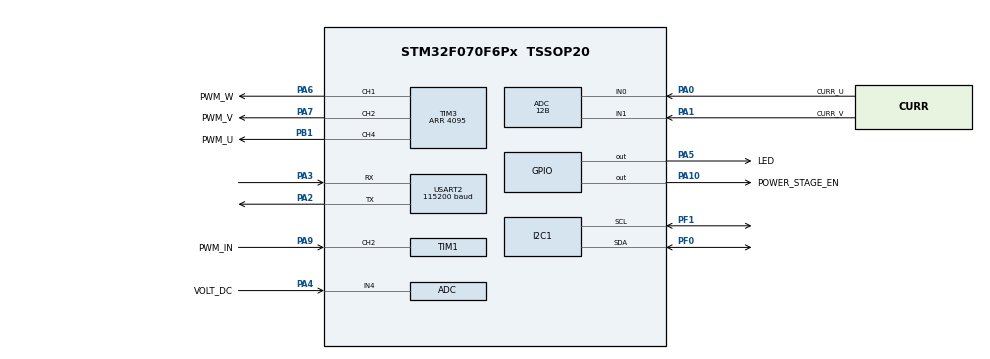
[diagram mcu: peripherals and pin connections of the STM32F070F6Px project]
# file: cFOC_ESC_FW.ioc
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ADC.ClockPrescaler=ADC_CLOCK_ASYNC_DIV1
ADC.ContinuousConvMode=DISABLE
ADC.DMAContinuousRequests=ENABLE
ADC.DataAlign=ADC_DATAALIGN_RIGHT
ADC.DiscontinuousConvMode=DISABLE
ADC.EOCSelection=ADC_EOC_SEQ_CONV
ADC.EnableAnalogWatchDog=false
ADC.ExternalTrigConv=ADC_EXTERNALTRIGCONV_T3_TRGO
ADC.ExternalTrigConvEdge=ADC_EXTERNALTRIGCONVEDGE_RISING
ADC.LowPowerAutoPowerOff=DISABLE
ADC.LowPowerAutoWait=DISABLE
ADC.Overrun=ADC_OVR_DATA_OVERWRITTEN
ADC.Resolution=ADC_RESOLUTION_12B
ADC.SamplingTime=ADC_SAMPLETIME_1CYCLE_5
ADC.ScanConvMode=ADC_SCAN_DIRECTION_FORWARD
Dma.ADC.1.Direction=DMA_PERIPH_TO_MEMORY
Dma.ADC.1.Instance=DMA1_Channel1
Dma.ADC.1.MemDataAlignment=DMA_MDATAALIGN_WORD
Dma.ADC.1.MemInc=DMA_MINC_ENABLE
Dma.ADC.1.Mode=DMA_CIRCULAR
Dma.ADC.1.PeriphDataAlignment=DMA_PDATAALIGN_WORD
Dma.ADC.1.PeriphInc=DMA_PINC_DISABLE
Dma.ADC.1.Priority=DMA_PRIORITY_HIGH
Dma.Request0=USART2_TX
Dma.Request1=ADC
Dma.USART2_TX.0.Direction=DMA_MEMORY_TO_PERIPH
Dma.USART2_TX.0.Instance=DMA1_Channel4
Dma.USART2_TX.0.MemDataAlignment=DMA_MDATAALIGN_BYTE
Dma.USART2_TX.0.MemInc=DMA_MINC_ENABLE
Dma.USART2_TX.0.Mode=DMA_NORMAL
Dma.USART2_TX.0.PeriphDataAlignment=DMA_PDATAALIGN_BYTE
Dma.USART2_TX.0.PeriphInc=DMA_PINC_DISABLE
Dma.USART2_TX.0.Priority=DMA_PRIORITY_LOW
I2C1.Timing=0x20303E5D
Mcu.Family=STM32F0
Mcu.Name=STM32F070F6Px
Mcu.Package=TSSOP20
NVIC.ADC1_IRQn=true\:0\:0\:false\:false\:true\:true
NVIC.DMA1_Channel1_IRQn=true\:0\:0\:false\:false\:true\:false
NVIC.DMA1_Channel4_5_IRQn=true\:0\:0\:false\:false\:true\:false
NVIC.TIM3_IRQn=true\:0\:0\:false\:false\:true\:true
PA0.GPIO_Label=CURR_U
PA0.Mode=IN0
PA0.Signal=ADC_IN0
PA1.GPIO_Label=CURR_V
PA1.Mode=IN1
PA1.Signal=ADC_IN1
PA10.GPIO_Label=POWER_STAGE_EN
PA10.Signal=GPIO_Output
PA13.Mode=Serial_Wire
PA13.Signal=SYS_SWDIO
PA14.Mode=Serial_Wire
PA14.Signal=SYS_SWCLK
PA2.Mode=Asynchronous
PA2.Signal=USART2_TX
PA3.Mode=Asynchronous
PA3.Signal=USART2_RX
PA4.GPIO_Label=VOLT_DC
PA4.Mode=IN4
PA4.Signal=ADC_IN4
PA5.GPIO_Label=LED
PA5.Signal=GPIO_Output
PA6.GPIO_Label=PWM_W
PA6.Signal=S_TIM3_CH1
PA7.GPIO_Label=PWM_V
PA7.Signal=S_TIM3_CH2
PA9.GPIO_Label=PWM_IN
PA9.Signal=S_TIM1_CH2
PB1.GPIO_Label=PWM_U
PB1.Signal=S_TIM3_CH4
PF0-OSC_IN.Mode=I2C
PF0-OSC_IN.Signal=I2C1_SDA
PF1-OSC_OUT.Mode=I2C
PF1-OSC_OUT.Signal=I2C1_SCL
ProjectManager.HeapSize=0x200
ProjectManager.StackSize=0x400
ProjectManager.TargetToolchain=MDK-ARM V5
RCC.AHBFreq_Value=48000000
RCC.APB1Freq_Value=48000000
RCC.APB1TimFreq_Value=48000000
RCC.HCLKFreq_Value=48000000
RCC.I2c1ClockSelection=RCC_I2C1CLKSOURCE_SYSCLK
RCC.PLLMUL=RCC_PLL_MUL6
RCC.SYSCLKFreq_VALUE=48000000
RCC.SYSCLKSource=RCC_SYSCLKSOURCE_PLLCLK
SH.S_TIM1_CH2.0=TIM1_CH2,PWM_Input_2
SH.S_TIM3_CH1.0=TIM3_CH1,PWM Generation1 CH1
SH.S_TIM3_CH2.0=TIM3_CH2,PWM Generation2 CH2
SH.S_TIM3_CH4.0=TIM3_CH4,PWM Generation4 CH4
TIM1.TIM_MasterOutputTrigger=TIM_TRGO_OC3REF
TIM3.AutoReloadPreload=TIM_AUTORELOAD_PRELOAD_ENABLE
TIM3.Channel-PWM\ Generation1\ CH1=TIM_CHANNEL_1
TIM3.Channel-PWM\ Generation2\ CH2=TIM_CHANNEL_2
TIM3.Channel-PWM\ Generation4\ CH4=TIM_CHANNEL_4
TIM3.CounterMode=TIM_COUNTERMODE_CENTERALIGNED1
TIM3.Period=4095
TIM3.TIM_MasterOutputTrigger=TIM_TRGO_UPDATE
USART2.BaudRate=115200
USART2.Mode=MODE_TX_RX
USART2.VirtualMode-Asynchronous=VM_ASYNC
VP_TIM3_VS_ClockSourceINT.Mode=Internal
board=custom

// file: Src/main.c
/**
  ******************************************************************************
  * @file           : main.c
  * @brief          : Main program body
  ******************************************************************************
  ** This notice applies to any and all portions of this file
  * that are not between comment pairs USER CODE BEGIN and
  * USER CODE END. Other portions of this file, whether
  * inserted by the user or by software development tools
  * are owned by their respective copyright owners.
  *
  * COPYRIGHT(c) 2019 STMicroelectronics
  *
  * Redistribution and use in source and binary forms, with or without modification,
  * are permitted provided that the following conditions are met:
  *   1. Redistributions of source code must retain the above copyright notice,
  *      this list of conditions and the following disclaimer.
  *   2. Redistributions in binary form must reproduce the above copyright notice,
  *      this list of conditions and the following disclaimer in the documentation
  *      and/or other materials provided with the distribution.
  *   3. Neither the name of STMicroelectronics nor the names of its contributors
  *      may be used to endorse or promote products derived from this software
  *      without specific prior written permission.
  *
  * THIS SOFTWARE IS PROVIDED BY THE COPYRIGHT HOLDERS AND CONTRIBUTORS "AS IS"
  * AND ANY EXPRESS OR IMPLIED WARRANTIES, INCLUDING, BUT NOT LIMITED TO, THE
  * IMPLIED WARRANTIES OF MERCHANTABILITY AND FITNESS FOR A PARTICULAR PURPOSE ARE
  * DISCLAIMED. IN NO EVENT SHALL THE COPYRIGHT HOLDER OR CONTRIBUTORS BE LIABLE
  * FOR ANY DIRECT, INDIRECT, INCIDENTAL, SPECIAL, EXEMPLARY, OR CONSEQUENTIAL
  * DAMAGES (INCLUDING, BUT NOT LIMITED TO, PROCUREMENT OF SUBSTITUTE GOODS OR
  * SERVICES; LOSS OF USE, DATA, OR PROFITS; OR BUSINESS INTERRUPTION) HOWEVER
  * CAUSED AND ON ANY THEORY OF LIABILITY, WHETHER IN CONTRACT, STRICT LIABILITY,
  * OR TORT (INCLUDING NEGLIGENCE OR OTHERWISE) ARISING IN ANY WAY OUT OF THE USE
  * OF THIS SOFTWARE, EVEN IF ADVISED OF THE POSSIBILITY OF SUCH DAMAGE.
  *
  ******************************************************************************
  */
#include "main.h"
#include "adc.h"
#include "dma.h"
#include "i2c.h"
#include "tim.h"
#include "usart.h"
#include "gpio.h"

/* USER CODE BEGIN Includes */
#include "fxptMath.h"
#include "cordicTrig.h"
#include "digitalFilters.h"
#include "pi_reg.h"
#include "rampgen.h"
#include "park.h"
#include "ipark.h"
#include "svgen.h"
#include "clarke.h"
#include "smopos.h"
#include "smopos_const.h"
#include "volt_calc.h"
#include "speed_est.h"
//#include <math.h>

/* USER CODE END Includes */

/* USER CODE BEGIN PV */
/* Private variables ---------------------------------------------------------*/
#define UART_SPEED 115200

#define ADC_DATA_BUFF_SIZE 		3
#define TX_BUFF_SIZE 					10
#define STREAM_DBG_SIZE 			255

#define F_SMP 								(48000000.0f / 4095.0f)
#define T_S 									(1.0f / F_SMP)
#define TETA_BASE 						(M_2PI * 30.0f * T_S)	// for 1 period in buffer cycle(256): 1 / 255 *T_S
#define TETA_INC_CONST				(M_2PI * T_S)
#define SPEED_LOOP_PSC				8

/* 		19.5 max phase current
 * 		max_curr * sqrt(2) * R_sense * opAmp_gain = 19.5 * 1.41 * 0.002 * 30 = 1.6497
 *		3102 = 10a = 14.1 amp
 *		992 = -10a = -14.1 amp
 *		20.8V max DC_BUS voltage (3.27/4095) * 6.3694 * 4095 = 20.8845
 */

#define MAX_CURR 19.5			// max readeble from ADC
#define MAX_DC_VOLT 20.9			// max readeble from ADC
#define BASE_CURR 10.0			// base
#define BASE_DC_VOLT 12.0			// MAX_DC_VOLT / sqrt(3)
#define BASE_FREQ 100.0
#define POLES 4
#define RS 0.175
#define LS 0.0000127

volatile uint32_t adcData[ADC_DATA_BUFF_SIZE] = {0};
volatile uint8_t txData[TX_BUFF_SIZE] = {0};

/*========== Drive struct field ============*/
 enum driveState
 {
    PREP,							// 0
    RDY,							// 1
		TUNE_PI,					// 2
    RUN_OPNLOOP,			// 3
    RUN_CLSLOOP,			// 4
		RUN_SPDLOOP,			// 5
		STOP,							// 6
		SHTDWN						// 7
 };

typedef struct{
	volatile _iq iU;
	volatile _iq iV;
	volatile _iq iW;
	volatile _iq offsetZeroCU;
	volatile _iq offsetZeroCV;
}motor_t;

union drive_u
{
	motor_t bldc;
	uint8_t state;
};

union drive_u drive;
/*==================================*/
/*====== DataLog var ===============*/
typedef struct{
	volatile uint8_t txCmplt:1;
	volatile uint8_t startRecord:1;
	volatile uint8_t endRecord:1;
	volatile uint8_t updateCmplt:1;

	volatile uint8_t frameCount;
	volatile uint8_t dataPacketCount;
	volatile uint16_t streamCh1[STREAM_DBG_SIZE];
	volatile uint16_t streamCh2[STREAM_DBG_SIZE];
	volatile uint16_t streamCh3[STREAM_DBG_SIZE];
	volatile uint16_t streamCh4[STREAM_DBG_SIZE];
} dataLogVars_t;

dataLogVars_t dataLog;

/*==========================================*/

volatile _iq tetaStep = _IQ(TETA_INC_CONST);
volatile _iq teta;
volatile _iq olSpeedRef = _IQ(TETA_BASE);
volatile _iq refId = _IQ(0.0);
volatile _iq refIq = _IQ(0.0);
volatile _iq refSpeed = _IQ(0.0);
volatile _iq SpeedLoopCount = 0;

/* Digital LPF Init */
FILTER_DATA lpf_iD = FILTER_DEFAULTS;
FILTER_DATA lpf_iQ = FILTER_DEFAULTS;

PI_REG pi_iD = PI_REG_DEFAULTS;
PI_REG pi_iQ = PI_REG_DEFAULTS;
PI_REG pi_spd = PI_REG_DEFAULTS;

//RAMPGEN rg1 = RAMPGEN_DEFAULTS;

IPARK ipark1 = IPARK_DEFAULTS;

CLARKE clark1 = CLARKE_DEFAULTS;

PARK park1 = PARK_DEFAULTS;

PHASEVOLTAGE voltPh = PHASEVOLTAGE_DEFAULTS;

SVGEN svpwm = SVGEN_DEFAULTS;

SMOPOS smo1 = SMOPOS_DEFAULTS;

//SMOPOS_CONST smo1_const = SMOPOS_CONST_DEFAULTS;

SPEED_ESTIMATION spdest1 = SPEED_ESTIMATION_DEFAULTS;

/* USER CODE END PV */

static void LL_Init(void);
void SystemClock_Config(void);

/* USER CODE BEGIN PFP */
/* Private function prototypes -----------------------------------------------*/

void Configure_DMA(void);
void Configure_USART(void);
void StartTransfers(void);
void updateFrame(uint16_t frameNmb);

void escSystemStart(void)
{
	/* TIM3 Config and start. Enable the update/CC3 interrupt
   * Enable channles and set compare
	 * Enable counter
	 * Force update/CC3 event generation */
  //LL_TIM_EnableIT_CC3(TIM3);
  LL_TIM_CC_EnableChannel(TIM3, LL_TIM_CHANNEL_CH1);
	LL_TIM_CC_EnableChannel(TIM3, LL_TIM_CHANNEL_CH2);
	LL_TIM_CC_EnableChannel(TIM3, LL_TIM_CHANNEL_CH4);
	LL_TIM_SetAutoReload(TIM3, 2047);
	LL_TIM_OC_SetCompareCH1(TIM3, 0);
	LL_TIM_OC_SetCompareCH2(TIM3, 0);
	LL_TIM_OC_SetCompareCH4(TIM3, 0);
	LL_TIM_OC_SetCompareCH3(TIM3, LL_TIM_GetAutoReload(TIM3));
	LL_TIM_EnableCounter(TIM3);
  LL_TIM_GenerateEvent_CC3(TIM3);

  /* Set DMA transfer addresses of source and destination
   * Set DMA transfer size
   * Enable ISR from transfer complete
   * Enable DMA channel */
  LL_DMA_ConfigAddresses(DMA1, LL_DMA_CHANNEL_1,
                         LL_ADC_DMA_GetRegAddr(ADC1, LL_ADC_DMA_REG_REGULAR_DATA),
                         (uint32_t)&adcData,
                         LL_DMA_DIRECTION_PERIPH_TO_MEMORY);
  LL_DMA_SetDataLength(DMA1, LL_DMA_CHANNEL_1, ADC_DATA_BUFF_SIZE);
	LL_DMA_EnableIT_TC(DMA1, LL_DMA_CHANNEL_1);

	/* ADC Config and start. Enable the update interrupt.
	 * Disable DMA transfer before calibration
	 * Start calibration and wait untill that complete
	 * Enable DMA transfer, enable ADC, wait until ADC switch to enable state
	 * if external event used for triger ADC, first start will need software */
	LL_ADC_REG_SetDMATransfer(ADC1, LL_ADC_REG_DMA_TRANSFER_NONE);
	LL_ADC_StartCalibration(ADC1);
	while(LL_ADC_IsCalibrationOnGoing(ADC1)){}
  LL_ADC_REG_SetDMATransfer(ADC1, LL_ADC_REG_DMA_TRANSFER_UNLIMITED);
	//LL_ADC_EnableIT_EOS(ADC1);
	LL_ADC_Enable(ADC1);
	while (LL_ADC_IsActiveFlag_ADRDY(ADC1) == 0){}

	LL_DMA_EnableChannel(DMA1, LL_DMA_CHANNEL_1);
	LL_ADC_REG_StartConversion(ADC1);

}

void newSample_callback(void)
{
	LL_GPIO_SetOutputPin(LED_GPIO_Port, LED_Pin);

	if ( drive.state  == RDY || drive.state  == RUN_OPNLOOP || drive.state  == RUN_CLSLOOP || drive.state  == RUN_SPDLOOP  )
	{
	/*------------- Get ADC result and Clarke transform --------------*/

	clark1.As = ( adcData[0] - drive.bldc.offsetZeroCU ) << 13;
	clark1.Bs = ( adcData[1] - drive.bldc.offsetZeroCV ) << 13;

	CLARKE_MACRO(clark1);

	/*------------- Ramp and sawtooth wave generation -----------------*/

	if (drive.state != TUNE_PI )
	{
	if ( tetaStep < olSpeedRef ) tetaStep += _IQ(0.000001);
		if ( tetaStep > olSpeedRef ) tetaStep -= _IQ(0.000001);
	teta += tetaStep;
	if ( teta >= _IQ(M_PI) ) { teta -= _IQ(M_2PI); }
	}

	/*------------- Park transform --------------------------*/

//	CORDICsincos( _IQtoIQ13(teta), CORDIC_1F, &park1.Sin, &park1.Cos);
//  CORDICatan2sqrt(&angle,&calcSin,qSin, qCos);

	if (drive.state == RUN_OPNLOOP )
	{
	park1.Sin = _IQsin(teta);
	park1.Cos = _IQcos(teta);
	}
	if (drive.state == RUN_CLSLOOP)
	{
	park1.Sin = _IQsin(smo1.Theta);
	park1.Cos = _IQcos(smo1.Theta);
	}
	park1.Alpha = clark1.Alpha;
	park1.Beta = clark1.Beta;
	park1.calc(&park1);

	/*------------- SpeedLoop --------------------------*/

	if (drive.state == RUN_SPDLOOP && SpeedLoopCount == SPEED_LOOP_PSC)
	 {
	  pi_spd.ref = refSpeed;
	  pi_spd.fdb = spdest1.EstimatedSpeed;
	  pi_iD.calc(&pi_spd);
	  SpeedLoopCount=1;
	 }
	else SpeedLoopCount++;

	if(drive.state == PREP || drive.state == RDY || drive.state == STOP )
	{
		pi_spd.intgrl = 0; pi_spd.out = 0;
	}
	/*------------- cumpute current PI -------------------*/

//	lpf_iD.x = park1.Ds;
//	Filter_Execute(&lpf_iD);
//	park1.Ds = lpf_iD.y;
//
//	lpf_iQ.x = park1.Qs;
//	Filter_Execute(&lpf_iQ);
//	park1.Qs = lpf_iQ.y;

	pi_iD.ref = refId;
	pi_iD.fdb = park1.Ds;
	pi_iD.calc(&pi_iD);

	if ( drive.state == RUN_SPDLOOP ) pi_iQ.ref = pi_spd.out;
	else pi_iQ.ref = refIq;
	pi_iQ.fdb = park1.Qs;
	pi_iQ.calc(&pi_iQ);

	if ( drive.state <= RDY )
	{
		pi_iD.intgrl = 0;
		pi_iQ.intgrl = 0;
		pi_spd.intgrl = 0;
	}

	/*------------- Inverse Park transform --------------------------*/

	ipark1.Ds = pi_iD.out;
	ipark1.Qs = pi_iQ.out;
	ipark1.Sin = park1.Sin;
	ipark1.Cos = park1.Cos;
	ipark1.calc(&ipark1);

	/*------------- Phase voltages calc --------------------------*/

	voltPh.MfuncV1 = svpwm.Ta;
	voltPh.MfuncV2 = svpwm.Tb;
	voltPh.MfuncV3 = svpwm.Tc;
	voltPh.DcBusVolt = ( adcData[2] << 12 );
	PHASEVOLT_MACRO(voltPh);

	/*------------- SMO --------------------------*/

	if (drive.state == RUN_CLSLOOP && smo1.Kslide<_IQ(0.15)) smo1.Kslide=smo1.Kslide+_IQ(0.00001);
	// Low Kslide responds better to loop transients
	// Increase Kslide for better torque response after closing the speed loop

	smo1.Ialpha = clark1.Alpha;
	smo1.Ibeta  = clark1.Beta;
	smo1.Valpha = voltPh.Valpha;
	smo1.Vbeta  = voltPh.Vbeta;
	SMO_MACRO(smo1);
	smo1.Theta = _IQmpy2( _IQ14toIQ(smo1.Theta) );

	/*------------- Speed estimation --------------------------*/

	spdest1.EstimatedTheta = teta;
	SE_MACRO(spdest1);

	/*-------------  SVPWM generation --------------------------------*/

	svpwm.Ualpha = ipark1.Alpha;
	svpwm.Ubeta = ipark1.Beta;

	SVGENDQ_MACRO(svpwm);

	LL_TIM_OC_SetCompareCH1(TIM3, (svpwm.Ta >> 14) + 1023);
	LL_TIM_OC_SetCompareCH2(TIM3, (svpwm.Tb >> 14) + 1023);
	LL_TIM_OC_SetCompareCH4(TIM3, (svpwm.Tc >> 14) + 1023);

	}

	/*----------------------------------------------*/

	if (drive.state == PREP)
	{
		/*------------ Estimate zero offset ------------*/
		drive.bldc.iU = adcData[0];
		drive.bldc.iV = adcData[1];
		/* Disable output channels */
		LL_TIM_CC_DisableChannel(TIM1, LL_TIM_CHANNEL_CH1);
		LL_TIM_CC_DisableChannel(TIM1, LL_TIM_CHANNEL_CH2);
		LL_TIM_CC_DisableChannel(TIM1, LL_TIM_CHANNEL_CH3);
		static uint8_t zeroCnt = 0;
		drive.bldc.offsetZeroCU += drive.bldc.iU;
		drive.bldc.offsetZeroCV += drive.bldc.iV;
		zeroCnt++;
		if (zeroCnt >= 128)	// if complete all samples
		{
			drive.bldc.offsetZeroCU = drive.bldc.offsetZeroCU >> 7; // zeroU >> 7;
			drive.bldc.offsetZeroCV = drive.bldc.offsetZeroCV >> 7; // zeroV >> 7;
			zeroCnt = 0;
			drive.state = RDY;
			/* Enable output channels */
			LL_TIM_CC_EnableChannel(TIM1, LL_TIM_CHANNEL_CH1);
			LL_TIM_CC_EnableChannel(TIM1, LL_TIM_CHANNEL_CH2);
			LL_TIM_CC_EnableChannel(TIM1, LL_TIM_CHANNEL_CH3);
		}
	}

	/********* USART data loger *************/
	if (dataLog.startRecord){
		dataLog.endRecord = 0;
		dataLog.updateCmplt = 0;

		dataLog.streamCh1[dataLog.frameCount] = clark1.Alpha >> 16;
		dataLog.streamCh2[dataLog.frameCount] = clark1.Beta >> 16;
		dataLog.streamCh3[dataLog.frameCount] = voltPh.DcBusVolt >> 16;
		dataLog.streamCh4[dataLog.frameCount] = smo1.Theta >> 16;

		dataLog.frameCount++;
		if (dataLog.frameCount >= STREAM_DBG_SIZE){
		dataLog.endRecord = 1;
		dataLog.startRecord = 0;
		dataLog.frameCount = 0;
		}
	}

	/********************************************/

	LL_GPIO_ResetOutputPin(LED_GPIO_Port, LED_Pin);
}

void txCmplt_callback(void)
{
	//dataLog.txCmplt = 1;
}

void rxCmplt_callback(void){
}

/* USER CODE END PFP */

int main(void)
{

  /* MCU Configuration----------------------------------------------------------*/

  /* Reset of all peripherals, Initializes the Flash interface and the Systick. */
  LL_Init();

  /* Configure the system clock */
  SystemClock_Config();

  /* Initialize all configured peripherals */
  MX_GPIO_Init();
  MX_DMA_Init();
  MX_ADC_Init();
  MX_TIM3_Init();
  MX_TIM1_Init();
  MX_USART2_UART_Init();
  MX_I2C1_Init();
  /* USER CODE BEGIN 2 */

	/* Digital LPF Init */
	lpf_iD.Ts = _IQ(T_S);
	lpf_iD.Tf = _IQ(0.00002);
	Filter_Init(&lpf_iD);

	lpf_iQ.Ts = _IQ(T_S);
	lpf_iQ.Tf = _IQ(0.00002);
	Filter_Init(&lpf_iQ);

/* Init PI controllers: current DQ, speed */
	pi_iD.Kp = _IQ(0.09);
	pi_iD.Ki = _IQ(0.29);
  pi_iD.max_out = _IQ(0.75);
  pi_iD.min_out = _IQ(-0.75);
 	pi_iD.Ts =  _IQ(T_S);

	pi_iQ.Kp = _IQ(0.09);	// Kp = L / ( U_DC * T_S )
	pi_iQ.Ki = _IQ(0.29);	// Ki = T_S / ( R / U_DC )
  pi_iQ.max_out = _IQ(0.75);
  pi_iQ.min_out = _IQ(-0.75);
 	pi_iQ.Ts =  _IQ(T_S);

	pi_spd.Kp = _IQ(0.5);
	pi_spd.Ki = _IQ(T_S * SPEED_LOOP_PSC / 0.2);
  pi_spd.max_out = _IQ(0.95);
  pi_spd.min_out = _IQ(-0.95);
 	pi_spd.Ts =  _IQ(T_S);

	// Initialize the SPEED_EST module SMOPOS based speed calculation
  spdest1.K1 = _IQ21( 1 / ( BASE_FREQ * T_S ) );
  spdest1.K2 = _IQ( 1 / ( 1 + T_S * M_2PI * 5 ) );  // Low-pass cut-off frequency
  spdest1.K3 = _IQ(1) - spdest1.K2;
  spdest1.BaseRpm = 120 * ( BASE_FREQ / POLES );

	// Initialize the SMOPOS constant module
//	smo1_const.Rs = RS;
//	smo1_const.Ls = LS;
//	smo1_const.Ib = BASE_CURR;
//	smo1_const.Vb = BASE_DC_VOLT;
//	smo1_const.Ts = T_S;
//	SMO_CONST_MACRO(smo1_const);

// 	smo1.Fsmopos = _IQ(smo1_const.Fsmopos);
// 	smo1.Gsmopos = _IQ(smo1_const.Gsmopos);
	smo1.Fsmopos = _IQ(0.0274); 			// Pass parameters to smo1
	smo1.Gsmopos = _IQ(-0.00622); 		// Pass parameters to smo1
	smo1.Kslide = _IQ(0.01);
	smo1.Kslf = _IQ(0.010570739);

	LL_GPIO_SetOutputPin(POWER_STAGE_EN_GPIO_Port, POWER_STAGE_EN_Pin);
	drive.state = PREP;

	/*------------- Start periferia ---------------------*/

	Configure_USART();
	Configure_DMA();
	escSystemStart();
	StartTransfers();

  /* USER CODE END 2 */

  /* Infinite loop */
  /* USER CODE BEGIN WHILE */
  while (1)
  {
		/*--------------- Transmit UART dataLog ----------------------------*/

		if (dataLog.endRecord == 1 && LL_USART_IsActiveFlag_TC(USART2) == 1 ){
		updateFrame(dataLog.frameCount);
		dataLog.txCmplt = 0;
    dataLog.frameCount++;
		if (dataLog.frameCount >= STREAM_DBG_SIZE){
			dataLog.updateCmplt = 1;
			dataLog.endRecord = 0;
			dataLog.frameCount = 0;
			dataLog.dataPacketCount++;

			if (dataLog.dataPacketCount < 32) dataLog.startRecord = 1;
			else dataLog.dataPacketCount = 0;
			}
		}
		/*-------------------------------------------------------------------*/

  /* USER CODE END WHILE */

  }

}
static void LL_Init(void)
{

  LL_APB1_GRP2_EnableClock(LL_APB1_GRP2_PERIPH_SYSCFG);
  LL_APB1_GRP1_EnableClock(LL_APB1_GRP1_PERIPH_PWR);

  /* System interrupt init*/
  /* SVC_IRQn interrupt configuration */
  NVIC_SetPriority(SVC_IRQn, 0);
  /* PendSV_IRQn interrupt configuration */
  NVIC_SetPriority(PendSV_IRQn, 0);
  /* SysTick_IRQn interrupt configuration */
  NVIC_SetPriority(SysTick_IRQn, 0);

}

void SystemClock_Config(void)
{

  LL_FLASH_SetLatency(LL_FLASH_LATENCY_1);

  if(LL_FLASH_GetLatency() != LL_FLASH_LATENCY_1)
  {
  Error_Handler();
  }
  LL_RCC_HSI_Enable();

   /* Wait till HSI is ready */
  while(LL_RCC_HSI_IsReady() != 1)
  {

  }
  LL_RCC_HSI_SetCalibTrimming(16);

  LL_RCC_HSI14_Enable();

   /* Wait till HSI14 is ready */
  while(LL_RCC_HSI14_IsReady() != 1)
  {

  }
  LL_RCC_HSI14_SetCalibTrimming(16);

  LL_RCC_PLL_ConfigDomain_SYS(LL_RCC_PLLSOURCE_HSI, LL_RCC_PLL_MUL_6, LL_RCC_PREDIV_DIV_1);

  LL_RCC_PLL_Enable();

   /* Wait till PLL is ready */
  while(LL_RCC_PLL_IsReady() != 1)
  {

  }
  LL_RCC_SetAHBPrescaler(LL_RCC_SYSCLK_DIV_1);

  LL_RCC_SetAPB1Prescaler(LL_RCC_APB1_DIV_1);

  LL_RCC_SetSysClkSource(LL_RCC_SYS_CLKSOURCE_PLL);

   /* Wait till System clock is ready */
  while(LL_RCC_GetSysClkSource() != LL_RCC_SYS_CLKSOURCE_STATUS_PLL)
  {

  }
  LL_Init1msTick(48000000);

  LL_SYSTICK_SetClkSource(LL_SYSTICK_CLKSOURCE_HCLK);

  LL_SetSystemCoreClock(48000000);

  LL_RCC_HSI14_EnableADCControl();

  LL_RCC_SetI2CClockSource(LL_RCC_I2C1_CLKSOURCE_SYSCLK);

  /* SysTick_IRQn interrupt configuration */
  NVIC_SetPriority(SysTick_IRQn, 0);
}

/* USER CODE BEGIN 4 */

void Configure_USART(void)
{

  /* (1) Enable GPIO clock and configures the USART pins **********************/

  /* Enable the peripheral clock of GPIO Port */
  LL_AHB1_GRP1_EnableClock(LL_AHB1_GRP1_PERIPH_GPIOA);

  /* Configure Tx Pin as : Alternate function, High Speed, Push pull, Pull up */
  LL_GPIO_SetPinMode(GPIOA, LL_GPIO_PIN_2, LL_GPIO_MODE_ALTERNATE);
  LL_GPIO_SetAFPin_0_7(GPIOA, LL_GPIO_PIN_2, LL_GPIO_AF_1);
  LL_GPIO_SetPinSpeed(GPIOA, LL_GPIO_PIN_2, LL_GPIO_SPEED_FREQ_HIGH);
  LL_GPIO_SetPinOutputType(GPIOA, LL_GPIO_PIN_2, LL_GPIO_OUTPUT_PUSHPULL);
  LL_GPIO_SetPinPull(GPIOA, LL_GPIO_PIN_2, LL_GPIO_PULL_UP);

  /* Configure Rx Pin as : Alternate function, High Speed, Push pull, Pull up */
  LL_GPIO_SetPinMode(GPIOA, LL_GPIO_PIN_3, LL_GPIO_MODE_ALTERNATE);
  LL_GPIO_SetAFPin_0_7(GPIOA, LL_GPIO_PIN_3, LL_GPIO_AF_1);
  LL_GPIO_SetPinSpeed(GPIOA, LL_GPIO_PIN_3, LL_GPIO_SPEED_FREQ_HIGH);
  LL_GPIO_SetPinOutputType(GPIOA, LL_GPIO_PIN_3, LL_GPIO_OUTPUT_PUSHPULL);
  LL_GPIO_SetPinPull(GPIOA, LL_GPIO_PIN_3, LL_GPIO_PULL_UP);

  /* (2) Enable USART2 peripheral clock and clock source ****************/
  LL_APB1_GRP1_EnableClock(LL_APB1_GRP1_PERIPH_USART2);

  /* Set clock source */
  //LL_RCC_SetUSARTClockSource(LL_RCC_USART1_CLKSOURCE_PCLK1);
	//RCC->CFGR3 |=

  /* (3) Configure USART2 functional parameters ********************************/

  /* Disable USART prior modifying configuration registers */
  /* Note: Commented as corresponding to Reset value */
  // LL_USART_Disable(USART2);

  /* TX/RX direction */
  LL_USART_SetTransferDirection(USART2, LL_USART_DIRECTION_TX_RX);

  /* 8 data bit, 1 start bit, 1 stop bit, no parity */
  LL_USART_ConfigCharacter(USART2, LL_USART_DATAWIDTH_8B, LL_USART_PARITY_NONE, LL_USART_STOPBITS_1);

  /* No Hardware Flow control */
  /* Reset value is LL_USART_HWCONTROL_NONE */
  // LL_USART_SetHWFlowCtrl(USART2, LL_USART_HWCONTROL_NONE);

  /* Oversampling by 16 */
  /* Reset value is LL_USART_OVERSAMPLING_16 */
  // LL_USART_SetOverSampling(USART2, LL_USART_OVERSAMPLING_16);

  /* Set Baudrate to 115200 using APB frequency set to 48000000 Hz */
  /* Frequency available for USART peripheral can also be calculated through LL RCC macro */
  /* Ex :
      Periphclk = LL_RCC_GetUSARTClockFreq(Instance); or LL_RCC_GetUARTClockFreq(Instance); depending on USART/UART instance

      In this example, Peripheral Clock is expected to be equal to 48000000 Hz => equal to SystemCoreClock
  */
  LL_USART_SetBaudRate(USART2, SystemCoreClock, LL_USART_OVERSAMPLING_16, UART_SPEED);

  /* (4) Enable USART2 **********************************************************/
  LL_USART_Enable(USART2);

  /* Polling USART initialisation */
  while((!(LL_USART_IsActiveFlag_TEACK(USART2))) || (!(LL_USART_IsActiveFlag_REACK(USART2))))
  {
  }
}

void Configure_DMA(void)
{
  /* DMA1 used for USART2 Transmission and Reception
   */
  /* (1) Enable the clock of DMA1 */
  LL_AHB1_GRP1_EnableClock(LL_AHB1_GRP1_PERIPH_DMA1);

  /* (2) Configure NVIC for DMA transfer complete/error interrupts */
//  NVIC_SetPriority(DMA1_Channel4_5_6_7_IRQn, 0);
//  NVIC_EnableIRQ(DMA1_Channel4_5_6_7_IRQn);

  /* (3) Configure the DMA functional parameters for transmission */
  LL_DMA_ConfigTransfer(DMA1, LL_DMA_CHANNEL_4,
                        LL_DMA_DIRECTION_MEMORY_TO_PERIPH |
                        LL_DMA_PRIORITY_HIGH              |
                        LL_DMA_MODE_NORMAL                |
                        LL_DMA_PERIPH_NOINCREMENT         |
                        LL_DMA_MEMORY_INCREMENT           |
                        LL_DMA_PDATAALIGN_BYTE            |
                        LL_DMA_MDATAALIGN_BYTE);
  LL_DMA_ConfigAddresses(DMA1, LL_DMA_CHANNEL_4,
                         (uint32_t)txData,
                         LL_USART_DMA_GetRegAddr(USART2, LL_USART_DMA_REG_DATA_TRANSMIT),
                         LL_DMA_GetDataTransferDirection(DMA1, LL_DMA_CHANNEL_4));
  LL_DMA_SetDataLength(DMA1, LL_DMA_CHANNEL_4, TX_BUFF_SIZE);

  /* (4) Configure the DMA functional parameters for reception */
//  LL_DMA_ConfigTransfer(DMA1, LL_DMA_CHANNEL_5,
//                        LL_DMA_DIRECTION_PERIPH_TO_MEMORY |
//                        LL_DMA_PRIORITY_HIGH              |
//                        LL_DMA_MODE_NORMAL                |
//                        LL_DMA_PERIPH_NOINCREMENT         |
//                        LL_DMA_MEMORY_INCREMENT           |
//                        LL_DMA_PDATAALIGN_BYTE            |
//                        LL_DMA_MDATAALIGN_BYTE);
//  LL_DMA_ConfigAddresses(DMA1, LL_DMA_CHANNEL_5,
//                         LL_USART_DMA_GetRegAddr(USART2, LL_USART_DMA_REG_DATA_RECEIVE),
//                         (uint32_t)aRxBuffer,
//                         LL_DMA_GetDataTransferDirection(DMA1, LL_DMA_CHANNEL_5));
//  LL_DMA_SetDataLength(DMA1, LL_DMA_CHANNEL_5, ubNbDataToReceive);

  /* (5) Enable DMA transfer complete/error interrupts  */
  LL_DMA_EnableIT_TC(DMA1, LL_DMA_CHANNEL_4);
//  LL_DMA_EnableIT_TE(DMA1, LL_DMA_CHANNEL_4);
//  LL_DMA_EnableIT_TC(DMA1, LL_DMA_CHANNEL_5);
//  LL_DMA_EnableIT_TE(DMA1, LL_DMA_CHANNEL_5);
}

void StartTransfers(void)
{
	LL_DMA_DisableChannel(DMA1, LL_DMA_CHANNEL_4);
  LL_USART_EnableDMAReq_TX(USART2);
	LL_DMA_SetDataLength(DMA1, LL_DMA_CHANNEL_4, TX_BUFF_SIZE);
  LL_DMA_EnableChannel(DMA1, LL_DMA_CHANNEL_4);
}

/* Datalog-virtual oscilloscipe module
* if encode type BigEndian: place HI byte first, LO byte second.
* if LittleEndian - vice versa.
*/
void updateFrame(uint16_t frameNmb){

	/* ---------- for serialPlot/Matlab --------- */
	/* Start frame */
	txData[0] = 0x45; 	// 'E' 0100 0101
	txData[1] = 0x5A;		// 'Z'
	/* Channel 1 */
	txData[2] = (uint8_t) _HI(dataLog.streamCh1[frameNmb]);
	txData[3] = (uint8_t) _LO(dataLog.streamCh1[frameNmb]);
	/* Channel 2 */
	txData[4] = (uint8_t) _HI(dataLog.streamCh2[frameNmb]);
	txData[5] = (uint8_t) _LO(dataLog.streamCh2[frameNmb]);
	/* Channel 3 */
	txData[6] = (uint8_t) _HI(dataLog.streamCh3[frameNmb]);
	txData[7] = (uint8_t) _LO(dataLog.streamCh3[frameNmb]);
	/* Channel 4 */
	txData[8] = (uint8_t) _HI(dataLog.streamCh4[frameNmb]);
	txData[9] = (uint8_t) _LO(dataLog.streamCh4[frameNmb]);
	/* ---------------------------------------------- */

	StartTransfers();
}

/* USER CODE END 4 */

void _Error_Handler(char *file, int line)
{
  while(1)
  {
  }
}

/************************ (C) COPYRIGHT STMicroelectronics *****END OF FILE****/
